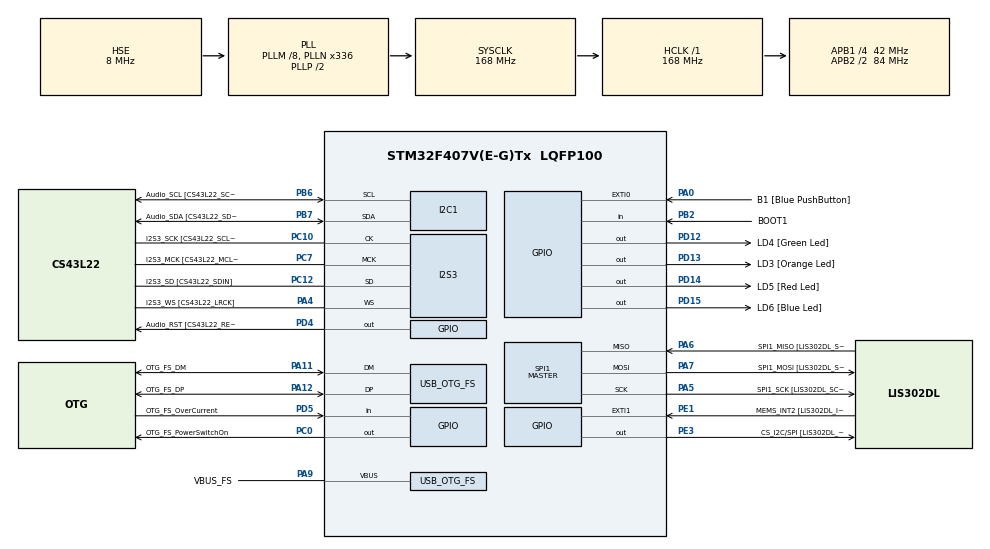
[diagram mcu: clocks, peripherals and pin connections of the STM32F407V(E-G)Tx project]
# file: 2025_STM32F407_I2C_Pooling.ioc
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I2S3.AudioFreq-Half_Duplex_Master=I2S_AUDIOFREQ_96K
I2S3.ErrorAudioFreq=-2.34 %
I2S3.ErrorAudioFreq-Half_Duplex_Master=0.8 %
I2S3.FullDuplexMode=I2S_FULLDUPLEXMODE_DISABLE
I2S3.Instance=SPI$Index
I2S3.RealAudioFreq=93.75 KHz
I2S3.RealAudioFreq-Half_Duplex_Master=96.774 KHz
I2S3.VirtualMode=I2S_MODE_MASTER
Mcu.Family=STM32F4
Mcu.Name=STM32F407V(E-G)Tx
Mcu.Package=LQFP100
NVIC.OTG_FS_IRQn=true\:0\:0\:false\:false\:true\:true\:true\:true
NVIC.PriorityGroup=NVIC_PRIORITYGROUP_0
PA0-WKUP.GPIO_Label=B1 [Blue PushButton]
PA0-WKUP.GPIO_ModeDefaultEXTI=GPIO_MODE_EVT_RISING
PA0-WKUP.GPIO_PuPd=GPIO_NOPULL
PA0-WKUP.Signal=GPXTI0
PA10.GPIO_Label=OTG_FS_ID
PA10.GPIO_Mode=GPIO_MODE_AF_PP
PA10.GPIO_PuPd=GPIO_NOPULL
PA10.GPIO_Speed=GPIO_SPEED_FREQ_LOW
PA10.Signal=USB_OTG_FS_ID
PA11.GPIO_Label=OTG_FS_DM
PA11.GPIO_Mode=GPIO_MODE_AF_PP
PA11.GPIO_PuPd=GPIO_NOPULL
PA11.GPIO_Speed=GPIO_SPEED_FREQ_LOW
PA11.Mode=Host_Only
PA11.Signal=USB_OTG_FS_DM
PA12.GPIO_Label=OTG_FS_DP
PA12.GPIO_Mode=GPIO_MODE_AF_PP
PA12.GPIO_PuPd=GPIO_NOPULL
PA12.GPIO_Speed=GPIO_SPEED_FREQ_LOW
PA12.Mode=Host_Only
PA12.Signal=USB_OTG_FS_DP
PA13.GPIO_Label=SWDIO
PA13.Mode=Serial_Wire
PA13.Signal=SYS_JTMS-SWDIO
PA14.GPIO_Label=SWCLK
PA14.Mode=Serial_Wire
PA14.Signal=SYS_JTCK-SWCLK
PA4.GPIO_Label=I2S3_WS [CS43L22_LRCK]
PA4.GPIO_Mode=GPIO_MODE_AF_PP
PA4.GPIO_PuPd=GPIO_NOPULL
PA4.GPIO_Speed=GPIO_SPEED_FREQ_LOW
PA4.Mode=Half_Duplex_Master
PA4.Signal=I2S3_WS
PA5.GPIO_Label=SPI1_SCK [LIS302DL_SCL/SPC]
PA5.GPIO_Mode=GPIO_MODE_AF_PP
PA5.GPIO_PuPd=GPIO_NOPULL
PA5.GPIO_Speed=GPIO_SPEED_FREQ_LOW
PA5.Mode=Full_Duplex_Master
PA5.Signal=SPI1_SCK
PA6.GPIO_Label=SPI1_MISO [LIS302DL_SDO]
PA6.GPIO_Mode=GPIO_MODE_AF_PP
PA6.GPIO_PuPd=GPIO_NOPULL
PA6.GPIO_Speed=GPIO_SPEED_FREQ_LOW
PA6.Mode=Full_Duplex_Master
PA6.Signal=SPI1_MISO
PA7.GPIO_Label=SPI1_MOSI [LIS302DL_SDA/SDI/SDO]
PA7.GPIO_Mode=GPIO_MODE_AF_PP
PA7.GPIO_PuPd=GPIO_NOPULL
PA7.GPIO_Speed=GPIO_SPEED_FREQ_LOW
PA7.Mode=Full_Duplex_Master
PA7.Signal=SPI1_MOSI
PA9.GPIO_Label=VBUS_FS
PA9.GPIO_Mode=GPIO_MODE_INPUT
PA9.GPIO_PuPd=GPIO_NOPULL
PA9.Mode=Activate_VBUS
PA9.Signal=USB_OTG_FS_VBUS
PB10.GPIO_Label=CLK_IN [MP45DT02_CLK]
PB10.GPIO_Mode=GPIO_MODE_AF_PP
PB10.GPIO_PuPd=GPIO_NOPULL
PB10.GPIO_Speed=GPIO_SPEED_FREQ_LOW
PB10.Signal=I2S2_CK
PB2.GPIO_Label=BOOT1
PB2.GPIO_Mode=GPIO_MODE_INPUT
PB2.GPIO_PuPd=GPIO_NOPULL
PB2.Signal=GPIO_Input
PB3.GPIO_Label=SWO
PB3.Signal=SYS_JTDO-SWO
PB6.GPIO_Label=Audio_SCL [CS43L22_SCL]
PB6.GPIO_Mode=GPIO_MODE_AF_OD
PB6.GPIO_Pu=GPIO_PULLUP
PB6.GPIO_PuPd=GPIO_NOPULL
PB6.GPIO_Speed=GPIO_SPEED_FREQ_LOW
PB6.Mode=I2C
PB6.Signal=I2C1_SCL
PB7.GPIO_Label=Audio_SDA [CS43L22_SDA]
PB7.GPIO_Mode=GPIO_MODE_AF_OD
PB7.GPIO_Pu=GPIO_PULLUP
PB7.GPIO_Speed=GPIO_SPEED_FREQ_LOW
PB7.Mode=I2C
PB7.Signal=I2C1_SDA
PC0.GPIO_Label=OTG_FS_PowerSwitchOn
PC0.GPIO_PuPd=GPIO_NOPULL
PC0.GPIO_Speed=GPIO_SPEED_FREQ_LOW
PC0.PinState=GPIO_PIN_SET
PC0.Signal=GPIO_Output
PC10.GPIO_Label=I2S3_SCK [CS43L22_SCLK]
PC10.GPIO_Mode=GPIO_MODE_AF_PP
PC10.GPIO_PuPd=GPIO_NOPULL
PC10.GPIO_Speed=GPIO_SPEED_FREQ_LOW
PC10.Mode=Half_Duplex_Master
PC10.Signal=I2S3_CK
PC12.GPIO_Label=I2S3_SD [CS43L22_SDIN]
PC12.GPIO_Mode=GPIO_MODE_AF_PP
PC12.GPIO_PuPd=GPIO_NOPULL
PC12.GPIO_Speed=GPIO_SPEED_FREQ_LOW
PC12.Mode=Half_Duplex_Master
PC12.Signal=I2S3_SD
PC14-OSC32_IN.GPIO_Label=PC14-OSC32_IN
PC14-OSC32_IN.Mode=LSE-External-Oscillator
PC14-OSC32_IN.Signal=RCC_OSC32_IN
PC15-OSC32_OUT.GPIO_Label=PC15-OSC32_OUT
PC15-OSC32_OUT.Mode=LSE-External-Oscillator
PC15-OSC32_OUT.Signal=RCC_OSC32_OUT
PC3.GPIO_Label=PDM_OUT [MP45DT02_DOUT]
PC3.GPIO_Mode=GPIO_MODE_AF_PP
PC3.GPIO_PuPd=GPIO_NOPULL
PC3.GPIO_Speed=GPIO_SPEED_FREQ_LOW
PC3.Signal=I2S2_SD
PC7.GPIO_Label=I2S3_MCK [CS43L22_MCLK]
PC7.GPIO_Mode=GPIO_MODE_AF_PP
PC7.GPIO_PuPd=GPIO_NOPULL
PC7.GPIO_Speed=GPIO_SPEED_FREQ_LOW
PC7.Mode=Master_Clock_Activated
PC7.Signal=I2S3_MCK
PD12.GPIO_Label=LD4 [Green Led]
PD12.GPIO_PuPd=GPIO_NOPULL
PD12.GPIO_Speed=GPIO_SPEED_FREQ_LOW
PD12.Signal=GPIO_Output
PD13.GPIO_Label=LD3 [Orange Led]
PD13.GPIO_PuPd=GPIO_NOPULL
PD13.GPIO_Speed=GPIO_SPEED_FREQ_LOW
PD13.Signal=GPIO_Output
PD14.GPIO_Label=LD5 [Red Led]
PD14.GPIO_PuPd=GPIO_NOPULL
PD14.GPIO_Speed=GPIO_SPEED_FREQ_LOW
PD14.Signal=GPIO_Output
PD15.GPIO_Label=LD6 [Blue Led]
PD15.GPIO_PuPd=GPIO_NOPULL
PD15.GPIO_Speed=GPIO_SPEED_FREQ_LOW
PD15.Signal=GPIO_Output
PD4.GPIO_Label=Audio_RST [CS43L22_RESET]
PD4.GPIO_PuPd=GPIO_NOPULL
PD4.GPIO_Speed=GPIO_SPEED_FREQ_LOW
PD4.Signal=GPIO_Output
PD5.GPIO_Label=OTG_FS_OverCurrent
PD5.GPIO_Mode=GPIO_MODE_INPUT
PD5.GPIO_PuPd=GPIO_NOPULL
PD5.Signal=GPIO_Input
PE1.GPIO_Label=MEMS_INT2 [LIS302DL_INT2]
PE1.GPIO_ModeDefaultEXTI=GPIO_MODE_EVT_RISING
PE1.GPIO_PuPd=GPIO_NOPULL
PE1.Signal=GPXTI1
PE3.GPIO_Label=CS_I2C/SPI [LIS302DL_CS_I2C/SPI]
PE3.GPIO_PuPd=GPIO_NOPULL
PE3.GPIO_Speed=GPIO_SPEED_FREQ_LOW
PE3.Signal=GPIO_Output
PH0-OSC_IN.GPIO_Label=PH0-OSC_IN
PH0-OSC_IN.Mode=HSE-External-Oscillator
PH0-OSC_IN.Signal=RCC_OSC_IN
PH1-OSC_OUT.GPIO_Label=PH1-OSC_OUT
PH1-OSC_OUT.Mode=HSE-External-Oscillator
PH1-OSC_OUT.Signal=RCC_OSC_OUT
ProjectManager.HeapSize=0x200
ProjectManager.StackSize=0x400
ProjectManager.TargetToolchain=STM32CubeIDE
RCC.48MHZClocksFreq_Value=48000000
RCC.AHBFreq_Value=168000000
RCC.APB1CLKDivider=RCC_HCLK_DIV4
RCC.APB1Freq_Value=42000000
RCC.APB1TimFreq_Value=84000000
RCC.APB2CLKDivider=RCC_HCLK_DIV2
RCC.APB2Freq_Value=84000000
RCC.APB2TimFreq_Value=168000000
RCC.CortexFreq_Value=168000000
RCC.HCLKFreq_Value=168000000
RCC.HSE_VALUE=8000000
RCC.HSI_VALUE=16000000
RCC.PLLM=8
RCC.PLLN=336
RCC.PLLQ=7
RCC.SYSCLKFreq_VALUE=168000000
RCC.SYSCLKSource=RCC_SYSCLKSOURCE_PLLCLK
RCC.VCOOutputFreq_Value=336000000
SPI1.BaudRatePrescaler-Full_Duplex_Master=SPI_BAUDRATEPRESCALER_2
SPI1.CalculateBaudRate-Full_Duplex_Master=42.0 MBits/s
SPI1.Direction=SPI_DIRECTION_2LINES
SPI1.Mode=SPI_MODE_MASTER
SPI1.Mode-Full_Duplex_Master=SPI_MODE_MASTER
SPI1.VirtualType=VM_MASTER
USB_HOST.BSP.number=1
USB_HOST.USBH_HandleTypeDef-CDC_FS=hUsbHostFS
USB_HOST.VirtualModeFS=Cdc
USB_HOST0.BSP.STBoard=false
USB_HOST0.BSP.api=Unknown
USB_HOST0.BSP.instance=PC0
USB_HOST0.BSP.ip=GPIO
USB_HOST0.BSP.mode=Output
USB_HOST0.BSP.name=Drive_VBUS_FS
USB_HOST0.BSP.solution=PC0
USB_OTG_FS.VirtualMode=Host_Only
USB_OTG_FS.phy_itface=HCD_PHY_EMBEDDED
VP_USB_HOST_VS_USB_HOST_CDC_FS.Mode=CDC_FS
board=STM32F407G-DISC1

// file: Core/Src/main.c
/* USER CODE BEGIN Header */
/**
  ******************************************************************************
  * @file           : main.c
  * @brief          : Main program body
  ******************************************************************************
  * @attention
  *
  * Copyright (c) 2025 STMicroelectronics.
  * All rights reserved.
  *
  * This software is licensed under terms that can be found in the LICENSE file
  * in the root directory of this software component.
  * If no LICENSE file comes with this software, it is provided AS-IS.
  *
  ******************************************************************************
  */
/* USER CODE END Header */
#include "main.h"
#include "usb_host.h"

/* USER CODE BEGIN Includes */
#include "DS3231.h"
/* USER CODE END Includes */

I2C_HandleTypeDef hi2c1;

I2S_HandleTypeDef hi2s3;

SPI_HandleTypeDef hspi1;

/* USER CODE BEGIN PV */
uint8_t deviceFlag = 0;
DS3231_Time_t currentTime;
/* USER CODE END PV */

void SystemClock_Config(void);
static void MX_GPIO_Init(void);
static void MX_I2C1_Init(void);
static void MX_I2S3_Init(void);
static void MX_SPI1_Init(void);
void MX_USB_HOST_Process(void);

int main(void)
{

  /* MCU Configuration--------------------------------------------------------*/

  /* Reset of all peripherals, Initializes the Flash interface and the Systick. */
  HAL_Init();

  /* Configure the system clock */
  SystemClock_Config();

  /* Initialize all configured peripherals */
  MX_GPIO_Init();
  MX_I2C1_Init();
  MX_I2S3_Init();
  MX_SPI1_Init();
  MX_USB_HOST_Init();
  /* USER CODE BEGIN 2 */

  HAL_GPIO_WritePin(GPIOD, GPIO_PIN_12, GPIO_PIN_RESET); // green
  HAL_GPIO_WritePin(GPIOD, GPIO_PIN_14, GPIO_PIN_RESET); //red

  //check if DS3231 is ready
  if(HAL_I2C_IsDeviceReady(&hi2c1, DS3231_ADDR_HAL, 3, 1000) == HAL_OK){
	  HAL_GPIO_TogglePin(GPIOD, GPIO_PIN_12);
	  deviceFlag = 1;
	  DS3231_Time_t setupTime;

	  setupTime.seconds = 15;
	  setupTime.minutes = 10;
	  setupTime.hours = 13;
	  setupTime.date = 20;
	  setupTime.month = 5;
	  setupTime.year = 25;

	  writeBCDRegister(&hi2c1, DS3231_SECONDS, setupTime.seconds);
	  writeBCDRegister(&hi2c1, DS3231_MINUTES, setupTime.minutes);
	  writeBCDRegister(&hi2c1, DS3231_HOURS, setupTime.hours);
	  writeBCDRegister(&hi2c1, DS3231_DATE, setupTime.date);
	  writeBCDRegister(&hi2c1, DS3231_CEN_MONTH, setupTime.month);
	  writeBCDRegister(&hi2c1, DS3231_DEC_YEAR, setupTime.year);
  }
  else{
	  HAL_GPIO_TogglePin(GPIOD, GPIO_PIN_14);
  }

  /* USER CODE END 2 */

  /* Infinite loop */
  /* USER CODE BEGIN WHILE */
  while (1)
  {

	  if (deviceFlag == 1){
		  currentTime.seconds = readBCDRegister(&hi2c1, DS3231_SECONDS);
		  currentTime.minutes = readBCDRegister(&hi2c1, DS3231_MINUTES);
		  currentTime.hours = readBCDRegister(&hi2c1, DS3231_HOURS);
		  currentTime.date = readBCDRegister(&hi2c1, DS3231_DATE);
		  currentTime.month = readBCDRegister(&hi2c1, DS3231_CEN_MONTH);
		  currentTime.year = readBCDRegister(&hi2c1, DS3231_DEC_YEAR);
	  }
    /* USER CODE END WHILE */
    MX_USB_HOST_Process();

  }
}

void SystemClock_Config(void)
{
  RCC_OscInitTypeDef RCC_OscInitStruct = {0};
  RCC_ClkInitTypeDef RCC_ClkInitStruct = {0};

  /** Configure the main internal regulator output voltage
  */
  __HAL_RCC_PWR_CLK_ENABLE();
  __HAL_PWR_VOLTAGESCALING_CONFIG(PWR_REGULATOR_VOLTAGE_SCALE1);

  /** Initializes the RCC Oscillators according to the specified parameters
  * in the RCC_OscInitTypeDef structure.
  */
  RCC_OscInitStruct.OscillatorType = RCC_OSCILLATORTYPE_HSE;
  RCC_OscInitStruct.HSEState = RCC_HSE_ON;
  RCC_OscInitStruct.PLL.PLLState = RCC_PLL_ON;
  RCC_OscInitStruct.PLL.PLLSource = RCC_PLLSOURCE_HSE;
  RCC_OscInitStruct.PLL.PLLM = 8;
  RCC_OscInitStruct.PLL.PLLN = 336;
  RCC_OscInitStruct.PLL.PLLP = RCC_PLLP_DIV2;
  RCC_OscInitStruct.PLL.PLLQ = 7;
  if (HAL_RCC_OscConfig(&RCC_OscInitStruct) != HAL_OK)
  {
    Error_Handler();
  }

  /** Initializes the CPU, AHB and APB buses clocks
  */
  RCC_ClkInitStruct.ClockType = RCC_CLOCKTYPE_HCLK|RCC_CLOCKTYPE_SYSCLK
                              |RCC_CLOCKTYPE_PCLK1|RCC_CLOCKTYPE_PCLK2;
  RCC_ClkInitStruct.SYSCLKSource = RCC_SYSCLKSOURCE_PLLCLK;
  RCC_ClkInitStruct.AHBCLKDivider = RCC_SYSCLK_DIV1;
  RCC_ClkInitStruct.APB1CLKDivider = RCC_HCLK_DIV4;
  RCC_ClkInitStruct.APB2CLKDivider = RCC_HCLK_DIV2;

  if (HAL_RCC_ClockConfig(&RCC_ClkInitStruct, FLASH_LATENCY_5) != HAL_OK)
  {
    Error_Handler();
  }
}

static void MX_I2C1_Init(void)
{

  hi2c1.Instance = I2C1;
  hi2c1.Init.ClockSpeed = 100000;
  hi2c1.Init.DutyCycle = I2C_DUTYCYCLE_2;
  hi2c1.Init.OwnAddress1 = 0;
  hi2c1.Init.AddressingMode = I2C_ADDRESSINGMODE_7BIT;
  hi2c1.Init.DualAddressMode = I2C_DUALADDRESS_DISABLE;
  hi2c1.Init.OwnAddress2 = 0;
  hi2c1.Init.GeneralCallMode = I2C_GENERALCALL_DISABLE;
  hi2c1.Init.NoStretchMode = I2C_NOSTRETCH_DISABLE;
  if (HAL_I2C_Init(&hi2c1) != HAL_OK)
  {
    Error_Handler();
  }

}

static void MX_I2S3_Init(void)
{

  hi2s3.Instance = SPI3;
  hi2s3.Init.Mode = I2S_MODE_MASTER_TX;
  hi2s3.Init.Standard = I2S_STANDARD_PHILIPS;
  hi2s3.Init.DataFormat = I2S_DATAFORMAT_16B;
  hi2s3.Init.MCLKOutput = I2S_MCLKOUTPUT_ENABLE;
  hi2s3.Init.AudioFreq = I2S_AUDIOFREQ_96K;
  hi2s3.Init.CPOL = I2S_CPOL_LOW;
  hi2s3.Init.ClockSource = I2S_CLOCK_PLL;
  hi2s3.Init.FullDuplexMode = I2S_FULLDUPLEXMODE_DISABLE;
  if (HAL_I2S_Init(&hi2s3) != HAL_OK)
  {
    Error_Handler();
  }

}

static void MX_SPI1_Init(void)
{

  /* SPI1 parameter configuration*/
  hspi1.Instance = SPI1;
  hspi1.Init.Mode = SPI_MODE_MASTER;
  hspi1.Init.Direction = SPI_DIRECTION_2LINES;
  hspi1.Init.DataSize = SPI_DATASIZE_8BIT;
  hspi1.Init.CLKPolarity = SPI_POLARITY_LOW;
  hspi1.Init.CLKPhase = SPI_PHASE_1EDGE;
  hspi1.Init.NSS = SPI_NSS_SOFT;
  hspi1.Init.BaudRatePrescaler = SPI_BAUDRATEPRESCALER_2;
  hspi1.Init.FirstBit = SPI_FIRSTBIT_MSB;
  hspi1.Init.TIMode = SPI_TIMODE_DISABLE;
  hspi1.Init.CRCCalculation = SPI_CRCCALCULATION_DISABLE;
  hspi1.Init.CRCPolynomial = 10;
  if (HAL_SPI_Init(&hspi1) != HAL_OK)
  {
    Error_Handler();
  }

}

static void MX_GPIO_Init(void)
{
  GPIO_InitTypeDef GPIO_InitStruct = {0};

  /* GPIO Ports Clock Enable */
  __HAL_RCC_GPIOE_CLK_ENABLE();
  __HAL_RCC_GPIOC_CLK_ENABLE();
  __HAL_RCC_GPIOH_CLK_ENABLE();
  __HAL_RCC_GPIOA_CLK_ENABLE();
  __HAL_RCC_GPIOB_CLK_ENABLE();
  __HAL_RCC_GPIOD_CLK_ENABLE();

  /*Configure GPIO pin Output Level */
  HAL_GPIO_WritePin(CS_I2C_SPI_GPIO_Port, CS_I2C_SPI_Pin, GPIO_PIN_RESET);

  /*Configure GPIO pin Output Level */
  HAL_GPIO_WritePin(OTG_FS_PowerSwitchOn_GPIO_Port, OTG_FS_PowerSwitchOn_Pin, GPIO_PIN_SET);

  /*Configure GPIO pin Output Level */
  HAL_GPIO_WritePin(GPIOD, LD4_Pin|LD3_Pin|LD5_Pin|LD6_Pin
                          |Audio_RST_Pin, GPIO_PIN_RESET);

  /*Configure GPIO pin : CS_I2C_SPI_Pin */
  GPIO_InitStruct.Pin = CS_I2C_SPI_Pin;
  GPIO_InitStruct.Mode = GPIO_MODE_OUTPUT_PP;
  GPIO_InitStruct.Pull = GPIO_NOPULL;
  GPIO_InitStruct.Speed = GPIO_SPEED_FREQ_LOW;
  HAL_GPIO_Init(CS_I2C_SPI_GPIO_Port, &GPIO_InitStruct);

  /*Configure GPIO pin : OTG_FS_PowerSwitchOn_Pin */
  GPIO_InitStruct.Pin = OTG_FS_PowerSwitchOn_Pin;
  GPIO_InitStruct.Mode = GPIO_MODE_OUTPUT_PP;
  GPIO_InitStruct.Pull = GPIO_NOPULL;
  GPIO_InitStruct.Speed = GPIO_SPEED_FREQ_LOW;
  HAL_GPIO_Init(OTG_FS_PowerSwitchOn_GPIO_Port, &GPIO_InitStruct);

  /*Configure GPIO pin : PDM_OUT_Pin */
  GPIO_InitStruct.Pin = PDM_OUT_Pin;
  GPIO_InitStruct.Mode = GPIO_MODE_AF_PP;
  GPIO_InitStruct.Pull = GPIO_NOPULL;
  GPIO_InitStruct.Speed = GPIO_SPEED_FREQ_LOW;
  GPIO_InitStruct.Alternate = GPIO_AF5_SPI2;
  HAL_GPIO_Init(PDM_OUT_GPIO_Port, &GPIO_InitStruct);

  /*Configure GPIO pin : B1_Pin */
  GPIO_InitStruct.Pin = B1_Pin;
  GPIO_InitStruct.Mode = GPIO_MODE_EVT_RISING;
  GPIO_InitStruct.Pull = GPIO_NOPULL;
  HAL_GPIO_Init(B1_GPIO_Port, &GPIO_InitStruct);

  /*Configure GPIO pin : BOOT1_Pin */
  GPIO_InitStruct.Pin = BOOT1_Pin;
  GPIO_InitStruct.Mode = GPIO_MODE_INPUT;
  GPIO_InitStruct.Pull = GPIO_NOPULL;
  HAL_GPIO_Init(BOOT1_GPIO_Port, &GPIO_InitStruct);

  /*Configure GPIO pin : CLK_IN_Pin */
  GPIO_InitStruct.Pin = CLK_IN_Pin;
  GPIO_InitStruct.Mode = GPIO_MODE_AF_PP;
  GPIO_InitStruct.Pull = GPIO_NOPULL;
  GPIO_InitStruct.Speed = GPIO_SPEED_FREQ_LOW;
  GPIO_InitStruct.Alternate = GPIO_AF5_SPI2;
  HAL_GPIO_Init(CLK_IN_GPIO_Port, &GPIO_InitStruct);

  /*Configure GPIO pins : LD4_Pin LD3_Pin LD5_Pin LD6_Pin
                           Audio_RST_Pin */
  GPIO_InitStruct.Pin = LD4_Pin|LD3_Pin|LD5_Pin|LD6_Pin
                          |Audio_RST_Pin;
  GPIO_InitStruct.Mode = GPIO_MODE_OUTPUT_PP;
  GPIO_InitStruct.Pull = GPIO_NOPULL;
  GPIO_InitStruct.Speed = GPIO_SPEED_FREQ_LOW;
  HAL_GPIO_Init(GPIOD, &GPIO_InitStruct);

  /*Configure GPIO pin : OTG_FS_OverCurrent_Pin */
  GPIO_InitStruct.Pin = OTG_FS_OverCurrent_Pin;
  GPIO_InitStruct.Mode = GPIO_MODE_INPUT;
  GPIO_InitStruct.Pull = GPIO_NOPULL;
  HAL_GPIO_Init(OTG_FS_OverCurrent_GPIO_Port, &GPIO_InitStruct);

  /*Configure GPIO pin : MEMS_INT2_Pin */
  GPIO_InitStruct.Pin = MEMS_INT2_Pin;
  GPIO_InitStruct.Mode = GPIO_MODE_EVT_RISING;
  GPIO_InitStruct.Pull = GPIO_NOPULL;
  HAL_GPIO_Init(MEMS_INT2_GPIO_Port, &GPIO_InitStruct);

}

void Error_Handler(void)
{
  __disable_irq();
  while (1)
  {
  }
}
